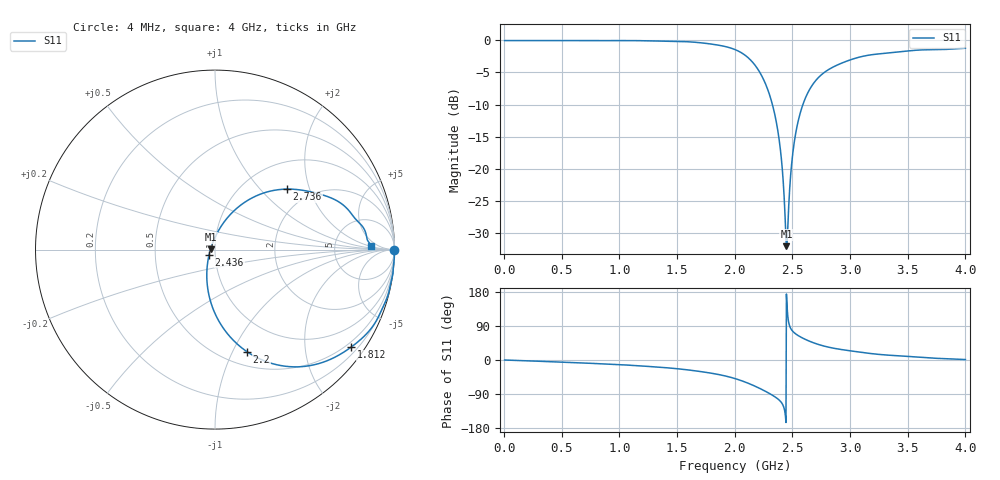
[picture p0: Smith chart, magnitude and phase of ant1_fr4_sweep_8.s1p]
! TOUCHSTONE file generated by CST MICROWAVE STUDIO
! Date and time: Fri May  6 15:38:55 2022
! Project name: ant1_ceramic_sweep_fr4.cst
! Parameters = {e=0.035; h=1.6; i=0.8; l1=0.505; l2=20.96; ls=80; wl=1.7; ws=30}
! Header version: 2018
! Port assignment regex: !\s*Touchstone port\s*([0-9]+)\s*=\s*(CST MWS port|CST DS port)\s*([0-9]+|Zmin|Zmax)\s*\(\"(.*)\"\)(\s*mode\s*([0-9]+))?.*
! Touchstone port assignment:
! Touchstone port 1 = CST MWS port 1 ("")
# GHz S DB R 50
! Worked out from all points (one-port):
!   1000 points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, 4 MHz to 4 GHz, reference 50 ohm
!   lowest |S11| = -32.1 dB at 2.448 GHz (marker M1), VSWR 1.05, Z = 47.6 + j0.239 ohm
!   |S11| at or under -10 dB: 2.326 GHz to 2.591 GHz (264.6 MHz wide, 10.8 % of centre)
!   S11 on the Smith chart (normalised r, x): 4 MHz: open; 1.812 GHz: 0.37, -3.07; 2.2 GHz: 0.64, -1.14; 2.436 GHz: 0.94, -0.05; 2.736 GHz: 1.54, +1.43; 4 GHz: 14, +2
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0.004  -0.01 -0.0
0.504  -0.01 -5.6
1.004  -0.02 -12.3
1.504  -0.14 -23.1
1.812  -0.60 -35.6
2.004  -1.44 -49.2
2.108  -2.57 -60.3
2.2  -4.48 -72.6
2.292  -7.97 -86.9
2.36  -12.71 -99.6
2.384  -15.37 -105.4
2.404  -18.45 -112.0
2.416  -20.96 -117.8
2.436  -27.39 -139.8
2.448  -32.12 174.2
2.456  -30.83 129.8
2.464  -27.38 105.4
2.488  -20.29 81.8
2.504  -17.48 75.4
2.54  -13.40 66.4
2.592  -9.94 57.3
2.656  -7.43 48.6
2.736  -5.61 40.0
2.848  -4.19 31.6
3.004  -3.02 24.1
3.188  -2.23 16.7
3.504  -1.64 9.4
4  -1.21 1.2
